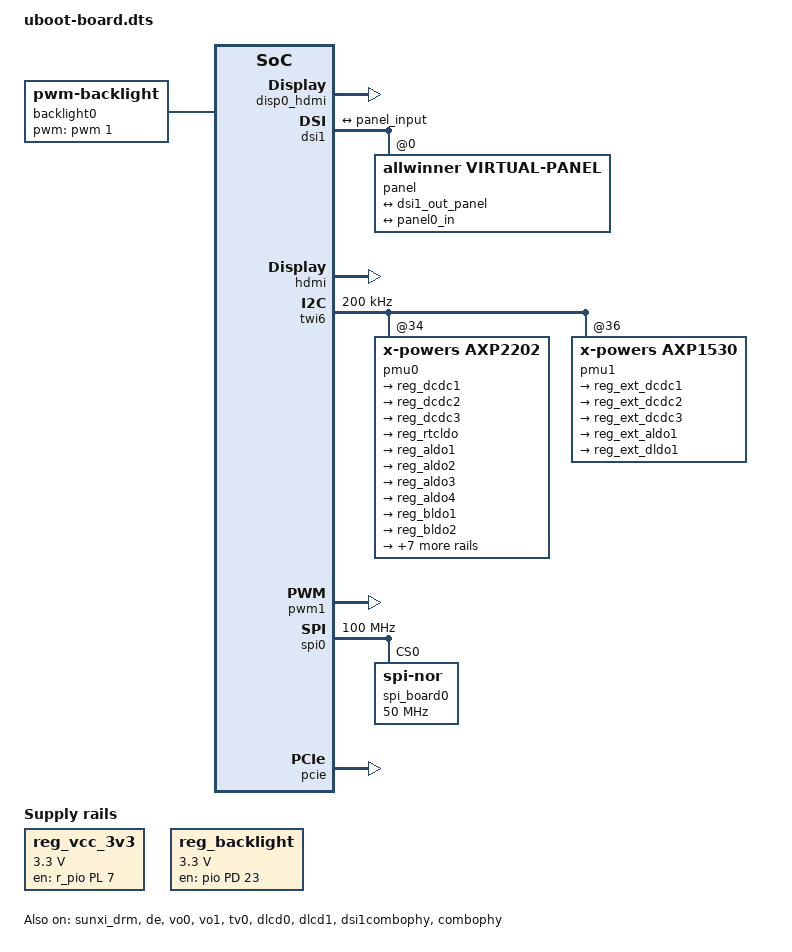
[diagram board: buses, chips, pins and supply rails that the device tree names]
/*
 * Allwinner Technology CO., Ltd. sun50iw10p1 soc board.
 *
 * soc board support.
 */



 #include <media_bus_format.h>
 #include <drm/drm_mipi_dsi.h>

/{
	reg_vcc_3v3: vcc-3v3 {
		compatible = "regulator-fixed";
		regulator-name = "vcc-3v3";
		regulator-min-microvolt = <3300000>;
		regulator-max-microvolt = <3300000>;
		// regulator-enable-ramp-delay = <1000>;
		regulator-always-on;
		regulator-boot-on;
		gpio = <&r_pio PL 7 GPIO_ACTIVE_HIGH>;
		enable-active-high;
	};

	reg_backlight: reg-backlight {
		compatible = "regulator-fixed";
		regulator-name = "reg-backlight";
		regulator-min-microvolt = <3300000>;
		regulator-max-microvolt = <3300000>;
		regulator-always-on;
		regulator-boot-on;
		gpio = <&pio PD 23 GPIO_ACTIVE_HIGH>;
		enable-active-high;
	};

	backlight0: backlight0 {
		compatible = "pwm-backlight";
		status = "okay";
		brightness-levels = <
			  0   1   2   3   4   5   6   7
			  8   9  10  11  12  13  14  15
			 16  17  18  19  20  21  22  23
			 24  25  26  27  28  29  30  31
			 32  33  34  35  36  37  38  39
			 40  41  42  43  44  45  46  47
			 48  49  50  51  52  53  54  55
			 56  57  58  59  60  61  62  63
			 64  65  66  67  68  69  70  71
			 72  73  74  75  76  77  78  79
			 80  81  82  83  84  85  86  87
			 88  89  90  91  92  93  94  95
			 96  97  98  99 100 101 102 103
			104 105 106 107 108 109 110 111
			112 113 114 115 116 117 118 119
			120 121 122 123 124 125 126 127
			128 129 130 131 132 133 134 135
			136 137 138 139 140 141 142 143
			144 145 146 147 148 149 150 151
			152 153 154 155 156 157 158 159
			160 161 162 163 164 165 166 167
			168 169 170 171 172 173 174 175
			176 177 178 179 180 181 182 183
			184 185 186 187 188 189 190 191
			192 193 194 195 196 197 198 199
			200 201 202 203 204 205 206 207
			208 209 210 211 212 213 214 215
			216 217 218 219 220 221 222 223
			224 225 226 227 228 229 230 231
			232 233 234 235 236 237 238 239
			240 241 242 243 244 245 246 247
			248 249 250 251 252 253 254 255>;
		default-brightness-level = <200>;
		pwms = <&pwm 1 50000 1>;
	};

	panel_0: panel_0@0 {
		status = "okay";
		reg = <0>;
		enable0-gpios = <&pio PD 23 GPIO_ACTIVE_HIGH>;
		enable1-gpios = <&pio PL 7 GPIO_ACTIVE_HIGH>;
		enable2-gpios = <&pio PJ 17 GPIO_ACTIVE_HIGH>;
		reset-num = <1>;
		reset-delay-ms = <20>;
		reset-gpios = <&pio PJ 18 GPIO_ACTIVE_LOW>; //reset
		backlight = <&backlight0>;
		dsi,flags = <MIPI_DSI_MODE_VIDEO>;
		dsi,lanes = <4>;
		dsi,format = <0>;
		panel-init-sequence = [
			15 00 02 E0 00
			15 00 02 E1 93
			15 00 02 E2 65
			15 00 02 E3 F8
			15 00 02 80 03

			15 00 02 E0 01
			15 00 02 00 00
			15 00 02 01 7E
			15 00 02 03 00
			15 00 02 04 65
			15 00 02 0C 74
			15 00 02 17 00
			15 00 02 18 B7
			15 00 02 19 00
			15 00 02 1A 00
			15 00 02 1B B7
			15 00 02 1C 00
			
			15 00 02 24 FE
			15 00 02 37 19
			15 00 02 38 05
			15 00 02 39 00
			15 00 02 3A 01
			15 00 02 3B 01
			15 00 02 3C 70
			15 00 02 3D FF
			15 00 02 3E FF
			15 00 02 3F FF

			15 00 02 40 06
			15 00 02 41 A0
			15 00 02 43 1E
			15 00 02 44 0F
			15 00 02 45 28
			15 00 02 4B 04

			15 00 02 55 02
			15 00 02 56 01
			15 00 02 57 A9
			15 00 02 58 0A
			15 00 02 59 0A
			15 00 02 5A 37
			15 00 02 5B 19
			15 00 02 5D 78
			15 00 02 5E 63
			15 00 02 5F 54
			
			15 00 02 60 49
			15 00 02 61 45
			15 00 02 62 38
			15 00 02 63 3D
			15 00 02 64 28
			15 00 02 65 43
			15 00 02 66 41
			15 00 02 67 43
			15 00 02 68 62
			15 00 02 69 50
			15 00 02 6A 57
			15 00 02 6B 49
			15 00 02 6C 44
			15 00 02 6D 37
			15 00 02 6E 23
			15 00 02 6F 10
			
			15 00 02 70 78
			15 00 02 71 63
			15 00 02 72 54
			15 00 02 73 49
			15 00 02 74 45
			15 00 02 75 38
			15 00 02 76 3D
			15 00 02 77 28
			15 00 02 78 43
			15 00 02 79 41
			15 00 02 7A 43
			15 00 02 7B 62
			15 00 02 7C 50
			15 00 02 7D 57
			15 00 02 7E 49
			15 00 02 7F 44
			
			15 00 02 80 37
			15 00 02 81 23
			15 00 02 82 10

			15 00 02 E0 02
			15 00 02 00 47
			15 00 02 01 47
			15 00 02 02 45
			15 00 02 03 45
			15 00 02 04 4B
			15 00 02 05 4B
			15 00 02 06 49
			15 00 02 07 49
			15 00 02 08 41
			15 00 02 09 1F
			15 00 02 0A 1F
			15 00 02 0B 1F
			15 00 02 0C 1F
			15 00 02 0D 1F
			15 00 02 0E 1F
			15 00 02 0F 5F
			15 00 02 10 5F
			15 00 02 11 57
			15 00 02 12 77
			15 00 02 13 35
			15 00 02 14 1F
			15 00 02 15 1F

			15 00 02 16 46
			15 00 02 17 46
			15 00 02 18 44
			15 00 02 19 44
			15 00 02 1A 4A
			15 00 02 1B 4A
			15 00 02 1C 48
			15 00 02 1D 48
			15 00 02 1E 40
			15 00 02 1F 1F
			15 00 02 20 1F
			15 00 02 21 1F
			15 00 02 22 1F
			15 00 02 23 1F
			15 00 02 24 1F
			15 00 02 25 5F
			15 00 02 26 5F
			15 00 02 27 57
			15 00 02 28 77
			15 00 02 29 35
			15 00 02 2A 1F
			15 00 02 2B 1F

			15 00 02 58 40
			15 00 02 59 00
			15 00 02 5A 00
			15 00 02 5B 10
			15 00 02 5C 06
			15 00 02 5D 40
			15 00 02 5E 01
			15 00 02 5F 02
			15 00 02 60 30
			15 00 02 61 01
			15 00 02 62 02
			15 00 02 63 03
			15 00 02 64 6B
			15 00 02 65 05
			15 00 02 66 0C
			15 00 02 67 73
			15 00 02 68 09
			15 00 02 69 03
			15 00 02 5A 56
			15 00 02 6B 08
			15 00 02 6C 00
			15 00 02 6D 04
			15 00 02 6E 04
			15 00 02 6F 88
			15 00 02 70 00
			15 00 02 71 00
			15 00 02 72 06
			15 00 02 73 7B
			15 00 02 74 00
			15 00 02 75 F8
			15 00 02 76 00
			15 00 02 77 D5
			15 00 02 78 2E
			15 00 02 79 12
			15 00 02 7A 03
			15 00 02 7B 00
			15 00 02 7C 00
			15 00 02 7D 03
			15 00 02 7E 7B

			15 00 02 E0 04
			15 00 02 00 0E
			15 00 02 02 B3
			15 00 02 09 60
			15 00 02 0E 2A
			15 00 02 37 58
			15 78 02 E0 00
			05 78 01 11
			05 14 01 29
		];

		panel-exit-sequence = [
			05 00 01 28
			05 00 01 10
		];

		display-timings {
			native-mode = <&dsi1_timing0>;

			dsi1_timing0: timing0 {
				clock-frequency = <70000000>;
				hback-porch = <18>;
				hactive = <800>;
				hfront-porch = <18>;
				hsync-len = <18>;
				vback-porch = <10>;
				vactive = <1280>;
				vfront-porch = <20>;
				vsync-len = <4>;

			};
		};
		port {
			panel0_in: endpoint@0 {
				reg = <0>;
				remote-endpoint = <&panel_output_0>;
			};
		};
	};

};

&sunxi_drm {
	status = "okay";
};

&disp0_hdmi {
	enable = <1>;
	status = "okay";
	force-output;
	logo,uboot = "logo.bmp";
};

&de {
	chn_cfg_mode = <3>;
	status = "okay";
};

&vo0 {
	status = "okay";
};

&vo1 {
	status = "okay";
};

&tv0 {
	status = "okay";
};

&dlcd0 {
	status = "okay";
};

&dlcd1 {
	status = "okay";
};

&dsi1combophy {
	status = "okay";
};

&dsi1 {
	status = "okay";
	pinctrl-0 = <&dsi1_4lane_pins_a>;
	pinctrl-1 = <&dsi1_4lane_pins_b>;
	pinctrl-names = "active","sleep";
	ports {
		dsi1_out: port@1{
			dsi1_out_panel: endpoint {
				remote-endpoint = <&panel_input>;
			};
		};
	};
	panel: panel@0 {
		compatible = "allwinner,virtual-panel";
		status = "okay";
		reg = <0>;
		ports {
			panel_in: port@0 {
				reg = <0>;
				panel_input: endpoint@0 {
					reg = <0>;
					remote-endpoint = <&dsi1_out_panel>;
				};
			};
			panel_out: port@1 {
				reg = <1>;
				panel_output_0: endpoint@0 {
					reg = <0>;
					remote-endpoint = <&panel0_in>;
				};
			};
		};
	};
};

&hdmi {
	hdmi_used = <1>;
	cldo1-supply = <&reg_cldo1>;
	hdmi_power0 = "cldo1";
	hdmi_power_cnt = <1>;
	hdmi_hdcp_enable = <1>;
	hdmi_hdcp22_enable = <0>;
	hdmi_cts_compatibility = <0>;
	hdmi_cec_support = <1>;
	hdmi_cec_super_standby = <1>;
	hdmi_skip_bootedid = <1>;

	ddc_en_io_ctrl = <0>;
	power_io_ctrl = <0>;

	inno_phy = <
		 25000 165000 0x01000102 0x1c1c1c1c 0x00000000 0x00000000
		165000 340000 0x01040506 0x1c1c1c1c 0x00000000 0x03030300
		340000 600000 0x010f0f0f 0x1c1c1c1c 0x00000000 0x00000000>;

	status = "okay";
};

&power_sply {
	bldo1_vol = <1800>;
	bldo2_vol = <1001800>;
	bldo3_vol = <1003300>;
	cldo1_vol = <1001800>;
	cldo4_vol = <1003300>;
	cldo3_vol = <1003300>;
	aldo3_vol = <1003300>;
	aldo1_vol = <1001800>;
	ext_aldo1_vol = <1001800>;
	dcdc1_mode = <1>;
	ext_dcdc0_mode = <1>;
	ext_dcdc1_mode = <1>;
	ext_dcdc2_mode = <1>;
	dcdc2_mode = <1>;
	bc12_mode = <0>;
	ntc_status = <2>;
};

&platform {
	eraseflag   = <0>;
	next_work   = <3>;
	debug_mode  = <1>;
};

&target {
	boot_clock = <1008>;	/*CPU boot frequency, Unit: MHz*/
	storage_type = <0xffffffff>; /*boot medium, 0-nand, 1-card0, 2-card2, -1(defualt)auto scan*/
	burn_key = <1>;		/*1:support burn key; 0:not support burn key*/
	dragonboard_test = <0>;	/*1:support card boot dragonboard; 0:not support card boot dragonboard*/
	auto_fel = <0>;
};


&charger0 {
	pmu_safe_vol = <3400>;
	ntc_cur = <50>;
	safe_temp_H = <600>;//60
	safe_temp_L = <0xFFFFFFCE>;//-5
	pmu_bat_temp_para1 = <4592>;
	pmu_bat_temp_para2 = <2781>;
	pmu_bat_temp_para3 = <2125>;
	pmu_bat_temp_para4 = <1738>;
	pmu_bat_temp_para5 = <1390>;
	pmu_bat_temp_para6 = <1118>;
	pmu_bat_temp_para7 = <906>;
	pmu_bat_temp_para8 = <606>;
	pmu_bat_temp_para9 = <415>;
	pmu_bat_temp_para10 = <290>;
	pmu_bat_temp_para11 = <244>;
	pmu_bat_temp_para12 = <206>;
	pmu_bat_temp_para13 = <175>;
	pmu_bat_temp_para14 = <150>;
	pmu_bat_temp_para15 = <110>;
	pmu_bat_temp_para16 = <83>;
};

&twi6 {
	clock-frequency = <200000>;
	pinctrl-0 = <&s_twi0_pins_a>;
	pinctrl-1 = <&s_twi0_pins_b>;
	twi-supply = <&reg_aldo3>;
	no_suspend = <1>;
	twi_drv_used = <1>;
	status = "okay";
	pmu0: pmu@34 {
		compatible = "x-powers,axp2202";
		status = "okay";
		/* interrupts = <0 IRQ_TYPE_LEVEL_LOW>;
		 * interrupt-parent = <&gic>; */
		x-powers,drive-vbus-en;

		wakeup-source;

		regulator0: regulators@0 {
			reg_dcdc1: dcdc1 {
				regulator-name = "axp2202-dcdc1";
			};
			reg_dcdc2: dcdc2 {
				regulator-name = "axp2202-dcdc2";
			};
			reg_dcdc3: dcdc3 {
				regulator-name = "axp2202-dcdc3";
			};
			reg_rtcldo: rtcldo {
				/* RTC_LDO is a fixed, always-on regulator */
				regulator-name = "axp2202-rtcldo";
			};
			reg_aldo1: aldo1 {
				regulator-name = "axp2202-aldo1";
			};
			reg_aldo2: aldo2 {
				regulator-name = "axp2202-aldo2";
			};
			reg_aldo3: aldo3 {
				regulator-name = "axp2202-aldo3";
			};
			reg_aldo4: aldo4 {
				regulator-name = "axp2202-aldo4";
			};
			reg_bldo1: bldo1 {
				regulator-name = "axp2202-bldo1";
			};
			reg_bldo2: bldo2 {
				regulator-name = "axp2202-bldo2";
			};
			reg_bldo3: bldo3 {
				regulator-name = "axp2202-bldo3";
			};
			reg_bldo4: bldo4 {
				regulator-name = "axp2202-bldo4";
			};
		//	reg_cldo1: cldo1 {
		///		regulator-name = "axp2202-cldo1";
		//	};
			reg_cldo2: cldo2 {
				regulator-name = "axp2202-cldo2";
			};
			reg_cldo3: cldo3 {
				regulator-name = "axp2202-cldo3";
			};
		//	reg_cldo4: cldo4 {
		//		regulator-name = "axp2202-cldo4";
		//	};
			reg_cpusldo: cpusldo {
				regulator-name = "axp2202-cpusldo";
			};

			reg_cldo1: cldo1 {
				regulator-name = "axp2202-cldo1";
				regulator-min-microvolt = <500000>;
				regulator-max-microvolt = <3500000>;
				regulator-enable-ramp-delay = <1000>;
			};
			reg_cldo4: cldo4 {
				regulator-name = "axp2202-cldo4";
				regulator-min-microvolt = <500000>;
				regulator-max-microvolt = <3500000>;
				regulator-enable-ramp-delay = <1000>;
			};
		};
	};

	pmu1: pmu@36 {
		compatible = "x-powers,axp1530";
		status = "okay";

		regulator1: regulators@1 {
			reg_ext_dcdc1: ext_dcdc1 {
				regulator-name = "axp1530-ext_dcdc1";
			};
			reg_ext_dcdc2: ext_dcdc2 {
				regulator-name = "axp1530-ext_dcdc2";
			};
			reg_ext_dcdc3: ext_dcdc3 {
				regulator-name = "axp1530-ext_dcdc3";
			};
			reg_ext_aldo1: ext_aldo1 {
				regulator-name = "axp1530-ext_aldo1";
			};
			reg_ext_dldo1: ext_dldo1 {
				regulator-name = "axp1530-ext_ldo1";
			};
		};
	};
};

&pwm1_pin_a {
	pins = "PD22";
	function = "pwm1";
	muxsel = <2>;
	drive-strength = <10>;
};

&pwm1_pin_b {
	pins = "PD22";
	muxsel = <0xf>;
	function = "io_disabled";
};

&pwm1 {
	pinctrl-names = "active", "sleep";
	pinctrl-0 = <&pwm1_pin_a>;
	pinctrl-1 = <&pwm1_pin_b>;
	status = "okay";
};

&sdc0_pins_a {
	allwinner,pins = "PF0", "PF1", "PF2",
			 "PF3", "PF4", "PF5";
	allwinner,function = "sdc0";
	allwinner,muxsel = <2>;
	allwinner,drive = <3>;
	allwinner,pull = <1>;
};

&sdc0_pins_b {
	allwinner,pins = "PF0", "PF1", "PF2",
			 "PF3", "PF4", "PF5";
	allwinner,function = "io_disabled";
	allwinner,muxsel = <7>;
	allwinner,drive = <1>;
	allwinner,pull = <1>;
};

&sdc0_pins_c {
	allwinner,pins = "PF0", "PF1", "PF2",
			 "PF3", "PF4", "PF5";
	allwinner,function = "uart0_jtag";
	allwinner,muxsel = <3>;
	allwinner,drive = <1>;
	allwinner,pull = <1>;
};


&sdc2_pins_a {
	allwinner,pins = "PC1", "PC5", "PC6",
			 "PC8", "PC9", "PC10", "PC11",
			 "PC13", "PC14", "PC15", "PC16";
	allwinner,function = "sdc2";
	allwinner,muxsel = <3>;
	allwinner,drive = <3>;
	allwinner,pull = <1>;
};

&sdc2_pins_b {
	allwinner,pins = "PC0", "PC1", "PC5", "PC6",
			 "PC8", "PC9", "PC10", "PC11",
			 "PC13", "PC14", "PC15", "PC16";
	allwinner,function = "io_disabled";
	allwinner,muxsel = <7>;
	allwinner,drive = <1>;
	allwinner,pull = <1>;
};

&sdc2_pins_c {
	allwinner,pins = "PC0";
	allwinner,function = "sdc2";
	allwinner,muxsel = <3>;
	allwinner,drive = <3>;
	allwinner,pull = <2>;
};

&nand0_pins_a {
	allwinner,pins = "PC0", "PC1", "PC2", "PC5",
			 "PC8", "PC9", "PC10", "PC11",
			 "PC12", "PC13", "PC14", "PC15",
			 "PC16";
	allwinner,pname= "nand0_we", "nand0_ale","nand0_cle", "nand0_nre",
			 "nand0_d0", "nand0_d1", "nand0_d2", "nand0_d3",
			 "nand0_d4", "nand0_d5", "nand0_d6", "nand0_d7",
			 "nand0_ndqs";
	allwinner,function = "nand0";
	allwinner,muxsel = <2>;
	allwinner,drive = <1>;
	allwinner,pull = <0>;
};

&nand0_pins_b {
	allwinner,pins = "PC4", "PC6", "PC03", "PC07";
	allwinner,pname= "nand0_ce0", "nand0_rb0", "nand0_ce1", "nand0_rb1";
	allwinner,function = "nand0";
	allwinner,muxsel = <2>;
	allwinner,drive = <1>;
	allwinner,pull = <1>;	/* only RB&CE should be pulled up */
};

&nand0_pins_c {
	allwinner,pins = "PC0", "PC1", "PC2", "PC3",
			 "PC4", "PC5", "PC6", "PC7",
			 "PC8", "PC9", "PC10", "PC11",
			 "PC12", "PC13", "PC14", "PC15",
			 "PC16";
	allwinner,function = "io_disabled";
	allwinner,muxsel = <7>;
	allwinner,drive = <1>;
	allwinner,pull = <0>;
};

&lvds0_pins_a {
	allwinner,pins = "PD0", "PD1", "PD2", "PD3", "PD4", "PD5", "PD6", "PD7", "PD8", "PD9";
	allwinner,pname = "PD0", "PD1", "PD2", "PD3", "PD4", "PD5", "PD6", "PD7", "PD8", "PD9";
	allwinner,function = "lvds0";
	allwinner,muxsel = <3>;
	allwinner,drive = <3>;
	allwinner,pull = <0>;
};

&lvds0_pins_b {
	allwinner,pins = "PD0", "PD1", "PD2", "PD3", "PD4", "PD5", "PD6", "PD7", "PD8", "PD9";
	allwinner,pname = "PD0", "PD1", "PD2", "PD3", "PD4", "PD5", "PD6", "PD7", "PD8", "PD9";
	allwinner,function = "lvds0_suspend";
	allwinner,muxsel = <7>;
	allwinner,drive = <3>;
	allwinner,pull = <0>;
};

/*&lvds1_pins_a {
	allwinner,pins = "PD10", "PD11", "PD12", "PD13", "PD14", "PD15", "PD18", "PD19", "PD16", "PD17";
	allwinner,pname = "PD10", "PD11", "PD12", "PD13", "PD14", "PD15", "PD18", "PD19", "PD16", "PD17";
	allwinner,function = "lvds1";
	allwinner,muxsel = <3>;
	allwinner,drive = <3>;
	allwinner,pull = <0>;
};

&lvds1_pins_b {
	allwinner,pins = "PD10", "PD11", "PD12", "PD13", "PD14", "PD15", "PD18", "PD19", "PD16", "PD17";
	allwinner,pname = "PD10", "PD11", "PD12", "PD13", "PD14", "PD15", "PD18", "PD19", "PD16", "PD17";
	allwinner,function = "lvds1_suspend";
	allwinner,muxsel = <7>;
	allwinner,drive = <3>;
	allwinner,pull = <0>;
};
*/
&lvds2_pins_a {
	allwinner,pins = "PJ7", "PJ6", "PJ5", "PJ4", "PJ3", "PJ2", "PJ1", "PJ0", "PJ8", "PJ9";
	allwinner,pname = "PJ7", "PJ6", "PJ5", "PJ4", "PJ3", "PJ2", "PJ1", "PJ0", "PJ8", "PJ9";
	allwinner,function = "lvds2";
	allwinner,muxsel = <3>;
	allwinner,drive = <3>;
	allwinner,pull = <0>;
};

&lvds2_pins_b {
	allwinner,pins = "PJ7", "PJ6", "PJ5", "PJ4", "PJ3", "PJ2", "PJ1", "PJ0", "PJ8", "PJ9";
	allwinner,pname = "PJ7", "PJ6", "PJ5", "PJ4", "PJ3", "PJ2", "PJ1", "PJ0", "PJ8", "PJ9";
	allwinner,function = "lvds2_suspend";
	allwinner,muxsel = <7>;
	allwinner,drive = <3>;
	allwinner,pull = <0>;
};

&lvds3_pins_a {
	allwinner,pins = "PJ10", "PJ11", "PJ12", "PJ13", "PJ14", "PJ15", "PJ16", "PJ17", "PJ18", "PJ19";
	allwinner,pname = "PJ10", "PJ11", "PJ12", "PJ13", "PJ14", "PJ15", "PJ16", "PJ17", "PJ18", "PJ19";
	allwinner,function = "lvds3";
	allwinner,muxsel = <3>;
	allwinner,drive = <3>;
	allwinner,pull = <0>;
};

&lvds3_pins_b {
	allwinner,pins = "PJ10", "PJ11", "PJ12", "PJ13", "PJ14", "PJ15", "PJ16", "PJ17", "PJ18", "PJ19";
	allwinner,pname = "PJ10", "PJ11", "PJ12", "PJ13", "PJ14", "PJ15", "PJ16", "PJ17", "PJ18", "PJ19";
	allwinner,function = "lvds3_suspend";
	allwinner,muxsel = <7>;
	allwinner,drive = <3>;
	allwinner,pull = <0>;
};

&lcd1_lvds2link_pins_a {
	allwinner,pins = "PJ10", "PJ11", "PJ12", "PJ13", "PJ14", "PJ15", "PJ16", "PJ17", "PJ18", "PJ19", \
	"PJ7", "PJ6", "PJ5", "PJ4", "PJ3", "PJ2", "PJ1", "PJ0", "PJ8", "PJ9";
	allwinner,pname = "PJ10", "PJ11", "PJ12", "PJ13", "PJ14", "PJ15", "PJ16", "PJ17", "PJ18", "PJ19", \
	"PJ7", "PJ6", "PJ5", "PJ4", "PJ3", "PJ2", "PJ1", "PJ0", "PJ8", "PJ9";
	allwinner,function = "lvds3";
	allwinner,muxsel = <3>;
	allwinner,drive = <3>;
	allwinner,pull = <0>;
};

&lcd1_lvds2link_pins_b {
	allwinner,pins = "PJ10", "PJ11", "PJ12", "PJ13", "PJ14", "PJ15", "PJ16", "PJ17", "PJ18", "PJ19", \
	"PJ7", "PJ6", "PJ5", "PJ4", "PJ3", "PJ2", "PJ1", "PJ0", "PJ8", "PJ9";
	allwinner,pname = "PJ10", "PJ11", "PJ12", "PJ13", "PJ14", "PJ15", "PJ16", "PJ17", "PJ18", "PJ19", \
	"PJ7", "PJ6", "PJ5", "PJ4", "PJ3", "PJ2", "PJ1", "PJ0", "PJ8", "PJ9";
	allwinner,function = "lvds3_suspend";
	allwinner,muxsel = <7>;
	allwinner,drive = <3>;
	allwinner,pull = <0>;
};

/*&lvds2link_pins_a {
	allwinner,pins = "PD0", "PD1", "PD2", "PD3", "PD4", "PD5", "PD8", "PD9", "PD6", "PD7", \
	"PD10", "PD11", "PD12", "PD13", "PD14", "PD15", "PD18", "PD19", "PD16", "PD17";
	allwinner,pname = "PD0", "PD1", "PD2", "PD3", "PD4", "PD5", "PD8", "PD9", "PD6", "PD7", \
	"PD10", "PD11", "PD12", "PD13", "PD14", "PD15", "PD18", "PD19", "PD16", "PD17";
	allwinner,function = "lvds2link";
	allwinner,muxsel = <3>;
	allwinner,drive = <3>;
	allwinner,pull = <0>;
};

&lvds2link_pins_b {
	allwinner,pins = "PD0", "PD1", "PD2", "PD3", "PD4", "PD5", "PD8", "PD9", "PD6", "PD7", \
	"PD10", "PD11", "PD12", "PD13", "PD14", "PD15", "PD18", "PD19", "PD16", "PD17";
	allwinner,pname = "PD0", "PD1", "PD2", "PD3", "PD4", "PD5", "PD8", "PD9", "PD6", "PD7", \
	"PD10", "PD11", "PD12", "PD13", "PD14", "PD15", "PD18", "PD19", "PD16", "PD17";
	allwinner,function = "lvds2link_suspend";
	allwinner,muxsel = <7>;
	allwinner,drive = <3>;
	allwinner,pull = <0>;
};

&rgb24_pins_a {
	allwinner,pins = "PD0", "PD1", "PD2", "PD3", "PD4", "PD5", "PD6", "PD7", "PD8", "PD9", \
	"PD10", "PD11", "PD12", "PD13", "PD14", "PD15", "PD16", "PD17", "PD8", "PD9", \
	"PD20", "PD21", "PD22", "PD23", "PD24", "PD25", "PD26", "PD27";
	allwinner,pname = "PD0", "PD1", "PD2", "PD3", "PD4", "PD5", "PD6", "PD7", "PD8", "PD9", \
	"PD10", "PD11", "PD12", "PD13", "PD14", "PD15", "PD16", "PD17", "PD8", "PD9", \
	"PD20", "PD21", "PD22", "PD23", "PD24", "PD25", "PD26", "PD27";
	allwinner,function = "rgb24";
	allwinner,muxsel = <2>;
	allwinner,drive = <3>;
	allwinner,pull = <0>;
};

&rgb24_pins_b {
	allwinner,pins = "PD0", "PD1", "PD2", "PD3", "PD4", "PD5", "PD6", "PD7", "PD8", "PD9", \
	"PD10", "PD11", "PD12", "PD13", "PD14", "PD15", "PD16", "PD17", "PD8", "PD9", \
	"PD20", "PD21", "PD22", "PD23", "PD24", "PD25", "PD26", "PD27";
	allwinner,pname = "PD0", "PD1", "PD2", "PD3", "PD4", "PD5", "PD6", "PD7", "PD8", "PD9", \
	"PD10", "PD11", "PD12", "PD13", "PD14", "PD15", "PD16", "PD17", "PD8", "PD9", \
	"PD20", "PD21", "PD22", "PD23", "PD24", "PD25", "PD26", "PD27";
	allwinner,function = "rgb24_suspend";
	allwinner,muxsel = <7>;
	allwinner,drive = <3>;
	allwinner,pull = <0>;
};

&rgb18_pins_a {
	allwinner,pins = "PD0", "PD1", "PD2", "PD3", "PD4", "PD5", "PD6", "PD7", "PD8", "PD9", \
	"PD10", "PD11", "PD12", "PD13", "PD14", "PD15", "PD16", "PD17", "PD18", "PD19", \
	"PD20", "PD21";
	allwinner,pname = "PD0", "PD1", "PD2", "PD3", "PD4", "PD5", "PD6", "PD7", "PD8", "PD9", \
	"PD10", "PD11", "PD12", "PD13", "PD14", "PD15", "PD16", "PD17", "PD18", "PD19", \
	"PD20", "PD21";
	allwinner,function = "rgb18";
	allwinner,muxsel = <2>;
	allwinner,drive = <3>;
	allwinner,pull = <0>;
};

&rgb18_pins_b {
	allwinner,pins = "PD0", "PD1", "PD2", "PD3", "PD4", "PD5", "PD6", "PD7", "PD8", "PD9", \
	"PD10", "PD11", "PD12", "PD13", "PD14", "PD15", "PD16", "PD17", "PD18", "PD19", \
	"PD20", "PD21";
	allwinner,pname = "PD0", "PD1", "PD2", "PD3", "PD4", "PD5", "PD6", "PD7", "PD8", "PD9", \
	"PD10", "PD11", "PD12", "PD13", "PD14", "PD15", "PD16", "PD17", "PD18", "PD19", \
	"PD20", "PD21";
	allwinner,function = "rgb18_suspend";
	allwinner,muxsel = <7>;
	allwinner,drive = <1>;
	allwinner,pull = <0>;
};

&eink_pins_a {
	allwinner,pins = "PD0", "PD1", "PD2", "PD3", "PD4", "PD5", "PD6", "PD7", "PD8", "PD9", \
	"PD10", "PD11", "PD12", "PD13", "PD14", "PD15", "PD16", "PD17", "PD18", "PD19", \
	"PD20", "PD21", "PD22";
	allwinner,pname = "eink_pin0", "eink_pin1", "eink_pin2", "eink_pin3", "eink_pin4", \
			  "eink_pin5", "eink_pin6", "eink_pin7", "eink_pin8", "eink_pin9", \
			  "eink_pin10", "eink_pin11", "eink_pin12", "eink_pin13", "eink_pin14", \
			  "eink_pin15", "eink_pinoeh", "eink_pinleh", "eink_pinckh", "eink_pinsth", \
			  "eink_pinckv", "eink_pinmod", "eink_pinstv";
	allwinner,function = "eink";
	allwinner,muxsel = <5>;
	allwinner,drive = <3>;
	allwinner,pull = <0>;
};

&eink_pins_b {
	allwinner,pins = "PD0", "PD1", "PD2", "PD3", "PD4", "PD5", "PD6", "PD7", "PD8", "PD9", \
	"PD10", "PD11", "PD12", "PD13", "PD14", "PD15", "PD16", "PD17", "PD18", "PD19", \
	"PD20", "PD21", "PD22";
	allwinner,pname = "eink_pin0", "eink_pin1", "eink_pin2", "eink_pin3", "eink_pin4", \
			  "eink_pin5", "eink_pin6", "eink_pin7", "eink_pin8", "eink_pin9", \
			  "eink_pin10", "eink_pin11", "eink_pin12", "eink_pin13", "eink_pin14", \
			  "eink_pin15", "eink_pinoeh", "eink_pinleh", "eink_pinckh", "eink_pinsth", \
			  "eink_pinckv", "eink_pinmod", "eink_pinstv";
	allwinner,function = "eink_suspend";
	allwinner,muxsel = <7>;
	allwinner,drive = <1>;
	allwinner,pull = <0>;
};*/

&dsi0_4lane_pins_a {
	allwinner,pins = "PD0", "PD1", "PD2", "PD3", "PD4", "PD5", "PD6", "PD7", "PD8", "PD9";
	allwinner,pname = "PD0", "PD1", "PD2", "PD3", "PD4", "PD5", "PD6", "PD7", "PD8", "PD9";
	allwinner,function = "dsi0";
	allwinner,muxsel = <4>;
	allwinner,drive = <3>;
	allwinner,pull = <0>;
};

&dsi0_4lane_pins_b {
	allwinner,pins = "PD0", "PD1", "PD2", "PD3", "PD4", "PD5", "PD6", "PD7", "PD8", "PD9";
	allwinner,pname = "PD0", "PD1", "PD2", "PD3", "PD4", "PD5", "PD6", "PD7", "PD8", "PD9";
	allwinner,function = "io_disabled";
	allwinner,muxsel = <7>;
	allwinner,drive = <1>;
	allwinner,pull = <0>;
};

&dsi1_4lane_pins_a {
	allwinner,pins = "PD10", "PD11", "PD12", "PD13", "PD14", "PD15", "PD16", "PD17", "PD18", "PD19";
	allwinner,pname = "PD10", "PD11", "PD12", "PD13", "PD14", "PD15", "PD16", "PD17", "PD18", "PD19";
	allwinner,function = "dsi1";
	allwinner,muxsel = <4>;
	allwinner,drive = <3>;
	allwinner,pull = <0>;
};

&dsi1_4lane_pins_b {
	allwinner,pins = "PD10", "PD11", "PD12", "PD13", "PD14", "PD15", "PD16", "PD17", "PD18", "PD19";
	allwinner,pname = "PD10", "PD11", "PD12", "PD13", "PD14", "PD15", "PD16", "PD17", "PD18", "PD19";
	allwinner,function = "io_disabled";
	allwinner,muxsel = <7>;
	allwinner,drive = <1>;
	allwinner,pull = <0>;
};

&card0_boot_para {  /* Avoid dtc compiling warnings. @TODO: Developer should modify this to the actual value */
	/* reg = <0x0 0x2 0x0 0x0>;  [> Avoid dtc compiling warnings. @TODO: Developer should modify this to the actual value <] */
	device_type = "card0_boot_para";
	card_ctrl = <0x0>;
	card_high_speed = <0x1>;
	card_line = <0x4>;
	clk_mmc = "sdmmc0_mod";
	pll-0 = "hosc";
	pll-1 = "pll_periph1_400m";
	pll-2 = "pll_periph1_300m";
	pinctrl-0 = <&sdc0_pins_a>;
};

&card2_boot_para {
	/*
	* Avoid dtc compiling warnings.
	* @TODO: Developer should modify this to the actual value
	*/
	reg = <0x0 0x3 0x0 0x0>;
	device_type = "card2_boot_para";
	card_ctrl = <0x2>;
	card_high_speed = <0x1>;
	card_line = <0x8>;
	clk_mmc = "sdmmc2_mod";
	pll-0 = "hosc";
	pll-1 = "pll_periph1_800m";
	pll-2 = "pll_periph1_600m";
	pinctrl-0 = <&sdc2_pins_a &sdc2_pins_c>;
	sdc_ex_dly_used = <0x2>;
	sdc_tm4_hs200_max_freq = <200>;
	sdc_tm4_hs400_max_freq = <200>;
	sdc_tm4_win_th = <0x7>;
	sdc_io_1v8 = <0x1>;
	sdc_type = "tm4";
};

&gpio_bias {  /* Avoid dtc compiling warnings. @TODO: Developer should modify this to the actual value */
	device_type = "gpio_bias";
	pc_bias = <1800>;
	pg_bias = <1800>;
	pg_supply = "bldo1_vol";
	pl_supply = "aldo3_vol";
};

&power_delay {
	device_type = "power_delay";
	aldo3_vol_delay = <20000>;
};

&nand0 {
	compatible = "allwinner,sun55iw3-nand";
	device_type = "nand0";
	//reg = <0x0 0x04011000 0x0 0x1000>;/* nand0 */
	pinctrl-names = "default", "sleep";
	pinctrl-0 = <&nand0_pins_a &nand0_pins_b>;
	pinctrl-1 = <&nand0_pins_c>;
	nand0_regulator1 = "vcc-nand";
	nand0_regulator2 = "none";
	nand0_cache_level = <0x55aaaa55>;
	nand0_flush_cache_num = <0x55aaaa55>;
	nand0_capacity_level = <0x55aaaa55>;
	nand0_id_number_ctl = <0x55aaaa55>;
	nand0_print_level = <0x55aaaa55>;
	nand0_p0 = <0x55aaaa55>;
	nand0_p1 = <0x55aaaa55>;
	nand0_p2 = <0x55aaaa55>;
	nand0_p3 = <0x55aaaa55>;
	chip_code = "sun50iw10";
	status = "disabled";
};

&aliases {
	nand0 = &nand0;
	twi6 = &twi6;
	disp = &disp;
	lcd0 = &lcd0;
	lcd1 = &lcd1;
	eink = &eink;
	pmu0 = &pmu0;
	pwm  = &pwm;
	pwm0 = &pwm0;

};

&spi0 {
	clock-frequency = <100000000>;
	pinctrl-0 = <&spi0_pins_a &spi0_pins_b>;
	pinctrl-1 = <&spi0_pins_c>;
	pinctrl-names = "default", "sleep";
	spi_slave_mode = <0>;
	spi_dbi_enable = <0>;
	spi0_cs_number = <1>;
	status = "okay";

	spi_board0 {
		device_type = "spi_board0";
		compatible = "spi-nor";
		spi-max-frequency = <50000000>;
		m25p,fast-read = <1>;
		/*individual_lock;*/
		reg = <0x0>;
		spi-rx-bus-width=<0x01>;
		spi-tx-bus-width=<0x01>;
		status="okay";
	};
};

&pcie {
       status = "okay";
};

&combophy {
       status = "okay";
};

&spi0_pins_a {
       allwinner,pins = "PC12", "PC2", "PC4";
       allwinner,pname = "spi0_clk", "spi0_mosi", "spi0_miso";
       allwinner,function = "spi0";
       allwinner,muxsel = <4>;
       allwinner,drive = <1>;
       allwinner,pull = <1>;
};

&spi0_pins_b {
       allwinner,pins = "PC3", "PC15", "PC16";
       allwinner,pname = "spi0_cs0", "spi0_wp", "spi0_hold";
       allwinner,function = "spi0";
       allwinner,muxsel = <4>;
       allwinner,drive = <1>;
       allwinner,pull = <1>;   // only CS should be pulled up
};

&spi0_pins_c {
       allwinner,pins = "PC12", "PC2", "PC4", "PC3", "PC15", "PC16";
       allwinner,function = "io_disabled";
       allwinner,muxsel = <15>;
       allwinner,drive = <1>;
       allwinner,pull = <0>;
};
